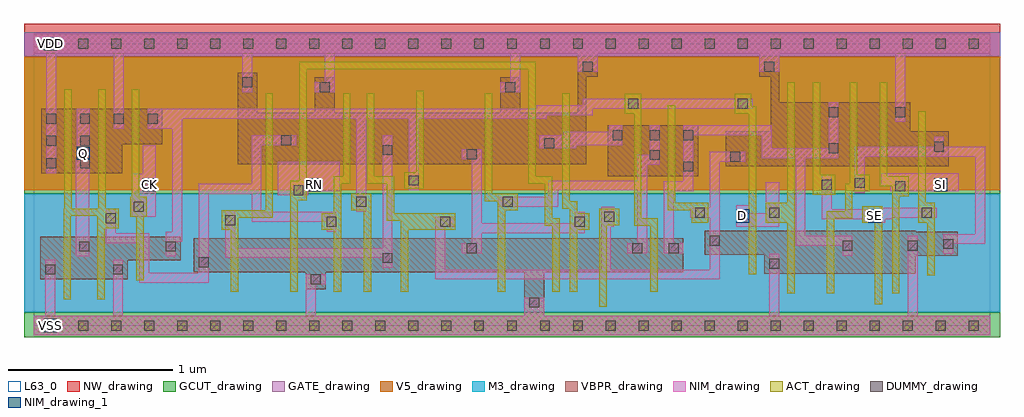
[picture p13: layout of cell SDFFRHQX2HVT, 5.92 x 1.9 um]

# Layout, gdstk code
import gdstk
lib = gdstk.Library(unit=1e-6, precision=5e-10)
def R(c, l, rs):  # rectangles x0, y0, x1, y1
    for r in rs: c.add(gdstk.rectangle(r[:2], r[2:], *l))
def A(c, l, x, y, w, h, nx, ny, dx, dy):  # array of equal rectangles
    R(c, l, [(x+i*dx, y+j*dy, x+i*dx+w, y+j*dy+h) for i in range(nx) for j in range(ny)])
def P(c, l, *ps):  # polygons
    for p in ps: c.add(gdstk.Polygon(p, *l))
VBPR_drawing = (1, 0)
NW_drawing = (2, 0)
ACT_drawing = (3, 0)
GATE_drawing = (4, 0)
GCUT_drawing = (5, 0)
DUMMY_drawing = (6, 0)
NIM_drawing = (7, 0)
NIM_drawing_1 = (7, 1)
M3_drawing = (18, 0)
V5_drawing = (23, 0)
L63_0 = (63, 0)

sdffrhqx2hvt = lib.new_cell('SDFFRHQX2HVT')
R(sdffrhqx2hvt, VBPR_drawing, [(0,-0.06,5.8,0.06), (3.48,0.905,4.03,1.215), (0,1.65,5.8,1.77)])
P(sdffrhqx2hvt, VBPR_drawing, [(5.55,1.18),(5.315,1.18),(5.315,1.355),(4.52,1.355),(4.52,1.65),(4.4,1.65),(4.4,1.51),(4.47,1.51),(4.47,1.18),(4.195,1.18),(4.195,0.965),(5.55,0.965)],
  [(0.045,1.315),(0.78,1.315),(0.78,1.1),(0.535,1.1),(0.535,0.925),(0.045,0.925)],
  [(0.04,0.54),(0.89,0.54),(0.89,0.395),(0.57,0.395),(0.57,0.28),(0.04,0.28)],
  [(3.94,0.53),(0.97,0.53),(0.97,0.325),(1.65,0.325),(1.65,0.22),(1.77,0.22),(1.77,0.325),(2.975,0.325),(2.975,0.06),(3.095,0.06),(3.095,0.325),(3.94,0.325)],
  [(4.07,0.575),(5.35,0.575),(5.35,0.57),(5.605,0.57),(5.605,0.425),(5.35,0.425),(5.35,0.315),(4.43,0.315),(4.43,0.43),(4.07,0.43)],
  [(3.42,1.65),(3.3,1.65),(3.3,1.29),(2.95,1.29),(2.95,1.505),(2.83,1.505),(2.83,1.29),(1.825,1.29),(1.825,1.505),(1.705,1.505),(1.705,1.29),(1.355,1.29),(1.355,1.535),(1.235,1.535),(1.235,0.98),(3.35,0.98),(3.35,1.51),(3.42,1.51)])
R(sdffrhqx2hvt, NW_drawing, [(-0.06,0.82,5.86,1.83)])
P(sdffrhqx2hvt, ACT_drawing, [(1.61,1.6),(3.045,1.6),(3.045,0.905),(3.145,0.905),(3.145,0.65),(3.19,0.65),(3.19,0.205),(3.145,0.205),(3.145,0.605),(3.1,0.605),(3.1,0.86),(3,0.86),(3,1.555),(1.655,1.555),(1.655,0.76),(1.6,0.76),(1.6,0.205),(1.555,0.205),(1.555,0.88),(1.61,0.88)],
  [(0.185,1.435),(0.23,1.435),(0.23,0.71),(0.39,0.71),(0.39,1.435),(0.435,1.435),(0.435,0.71),(0.515,0.71),(0.515,0.59),(0.43,0.59),(0.43,0.16),(0.385,0.16),(0.385,0.665),(0.225,0.665),(0.225,0.16),(0.18,0.16),(0.18,0.71),(0.185,0.71)],
  [(0.595,1.435),(0.64,1.435),(0.64,0.78),(0.685,0.78),(0.685,0.66),(0.665,0.66),(0.665,0.275),(0.62,0.275),(0.62,0.66),(0.585,0.66),(0.585,0.78),(0.595,0.78)],
  [(1.405,1.41),(1.45,1.41),(1.45,0.655),(1.24,0.655),(1.24,0.205),(1.195,0.205),(1.195,0.58),(1.14,0.58),(1.14,0.7),(1.405,0.7)],
  [(1.875,1.41),(1.92,1.41),(1.92,0.86),(1.865,0.86),(1.865,0.205),(1.82,0.205),(1.82,0.58),(1.745,0.58),(1.745,0.68),(1.82,0.68),(1.82,0.905),(1.875,0.905)],
  [(2.02,1.41),(2.065,1.41),(2.065,0.905),(2.185,0.905),(2.185,0.68),(2.555,0.68),(2.555,0.58),(2.27,0.58),(2.27,0.205),(2.225,0.205),(2.225,0.635),(2.14,0.635),(2.14,0.86),(2.02,0.86)],
  [(2.32,1.425),(2.365,1.425),(2.365,0.83),(2.245,0.83),(2.245,0.93),(2.32,0.93)],
  [(2.735,1.41),(2.78,1.41),(2.78,0.8),(2.935,0.8),(2.935,0.7),(2.86,0.7),(2.86,0.205),(2.815,0.205),(2.815,0.755),(2.735,0.755)],
  [(3.205,1.41),(3.25,1.41),(3.25,0.755),(3.295,0.755),(3.295,0.68),(3.37,0.68),(3.37,0.58),(3.295,0.58),(3.295,0.205),(3.25,0.205),(3.25,0.71),(3.205,0.71)],
  [(3.585,1.405),(3.685,1.405),(3.685,0.65),(3.785,0.65),(3.785,0.205),(3.74,0.205),(3.74,0.605),(3.64,0.605),(3.64,1.285),(3.585,1.285)],
  [(4.25,1.405),(4.35,1.405),(4.35,1.33),(4.38,1.33),(4.38,0.31),(4.335,0.31),(4.335,1.285),(4.25,1.285)],
  [(3.845,1.335),(3.89,1.335),(3.89,0.745),(4.09,0.745),(4.09,0.625),(3.99,0.625),(3.99,0.7),(3.845,0.7)],
  [(4.57,1.475),(4.615,1.475),(4.615,0.195),(4.57,0.195),(4.57,0.625),(4.44,0.625),(4.44,0.745),(4.57,0.745)],
  [(4.725,1.475),(4.77,1.475),(4.77,0.915),(4.86,0.915),(4.86,0.795),(4.725,0.795)],
  [(4.95,1.475),(4.995,1.475),(4.995,0.915),(5.07,0.915),(5.07,0.815),(4.965,0.815),(4.965,0.65),(4.855,0.65),(4.855,0.195),(4.81,0.195),(4.81,0.695),(4.92,0.695),(4.92,0.86),(4.95,0.86)],
  [(5.13,1.475),(5.175,1.475),(5.175,0.905),(5.305,0.905),(5.305,0.785),(5.25,0.785),(5.25,0.195),(5.205,0.195),(5.205,0.845),(5.13,0.845)],
  [(5.365,1.3),(5.41,1.3),(5.41,0.745),(5.465,0.745),(5.465,0.305),(5.42,0.305),(5.42,0.625),(5.365,0.625)],
  [(1.925,0.8),(2.045,0.8),(2.045,0.205),(2,0.205),(2,0.7),(1.925,0.7)],
  [(3.43,0.71),(3.55,0.71),(3.55,0.61),(3.475,0.61),(3.475,0.115),(3.43,0.115)],
  [(5.025,0.725),(5.145,0.725),(5.145,0.13),(5.1,0.13),(5.1,0.625),(5.025,0.625)])
R(sdffrhqx2hvt, GATE_drawing, [(-0.06,0.08,5.86,0.8), (-0.06,1.63,5.86,1.78)])
R(sdffrhqx2hvt, GCUT_drawing, [(-0.06,-0.07,5.86,0.08), (-0.06,0.8,5.86,1.63)])
A(sdffrhqx2hvt, DUMMY_drawing, 0.07, -0.03, 0.06, 0.06, 29, 2, 0.2, 1.71)
A(sdffrhqx2hvt, DUMMY_drawing, 0.075, 1.225, 0.06, 0.06, 4, 1, 0.205, 0)
R(sdffrhqx2hvt, DUMMY_drawing, [(3.005,0.11,3.065,0.17), (1.68,0.25,1.74,0.31), (0.07,0.31,0.13,0.37), (0.48,0.31,0.54,0.37), (4.46,0.345,4.52,0.405), (1,0.355,1.06,0.415), (2.115,0.38,2.175,0.44), (2.625,0.44,2.685,0.5), (3.63,0.44,3.69,0.5), (3.85,0.44,3.91,0.5), (0.275,0.45,0.335,0.51), (0.8,0.45,0.86,0.51), (4.905,0.455,4.965,0.515), (5.3,0.455,5.36,0.515), (5.515,0.465,5.575,0.525), (4.1,0.485,4.16,0.545), (1.775,0.6,1.835,0.66), (2.465,0.6,2.525,0.66), (3.28,0.6,3.34,0.66), (1.16,0.61,1.22,0.67), (0.435,0.62,0.495,0.68), (3.46,0.63,3.52,0.69), (5.055,0.645,5.115,0.705), (4.01,0.655,4.07,0.715), (4.46,0.655,4.52,0.715), (5.385,0.655,5.445,0.715), (0.605,0.69,0.665,0.75), (1.955,0.72,2.015,0.78), (2.845,0.72,2.905,0.78), (1.575,0.79,1.635,0.85), (5.225,0.815,5.285,0.875), (4.78,0.825,4.84,0.885), (4.98,0.835,5.04,0.895), (2.275,0.85,2.335,0.91), (3.94,0.935,4,0.995), (0.075,0.955,0.135,1.015), (0.28,0.955,0.34,1.015), (4.225,0.995,4.285,1.055), (3.735,1.005,3.795,1.065), (2.625,1.01,2.685,1.07), (2.115,1.035,2.175,1.095), (4.82,1.045,4.88,1.105), (5.46,1.055,5.52,1.115), (3.095,1.075,3.155,1.135), (0.075,1.09,0.135,1.15), (0.28,1.09,0.34,1.15), (1.5,1.095,1.56,1.155), (3.51,1.125,3.57,1.185), (3.735,1.125,3.795,1.185), (3.94,1.125,4,1.185), (4.82,1.265,4.88,1.325), (5.225,1.265,5.285,1.325), (3.605,1.315,3.665,1.375), (4.27,1.315,4.33,1.375), (1.735,1.415,1.795,1.475), (2.86,1.415,2.92,1.475), (1.265,1.445,1.325,1.505), (3.33,1.54,3.39,1.6), (4.43,1.54,4.49,1.6)])
R(sdffrhqx2hvt, NIM_drawing, [(0.07,0.06,0.13,0.4), (0.48,0.06,0.54,0.4), (2.975,0.06,3.095,0.17), (4.46,0.06,4.52,0.435), (5.3,0.06,5.36,0.545), (0.075,0.925,0.135,1.65), (0.485,1.195,0.545,1.65), (5.225,1.235,5.285,1.65), (1.265,1.415,1.325,1.65), (3.3,1.54,3.42,1.65), (4.4,1.54,4.52,1.65)])
P(sdffrhqx2hvt, NIM_drawing, [(1.825,1.65),(1.765,1.65),(1.765,1.475),(1.705,1.475),(1.705,1.415),(1.825,1.415)],
  [(2.95,1.65),(2.89,1.65),(2.89,1.475),(2.83,1.475),(2.83,1.415),(2.95,1.415)],
  [(1.77,0.31),(1.65,0.31),(1.65,0.06),(1.71,0.06),(1.71,0.25),(1.77,0.25)],
  [(0.26,1.315),(0.34,1.315),(0.34,0.925),(0.335,0.925),(0.335,0.42),(0.255,0.42),(0.255,1.005),(0.26,1.005)],
  [(3.33,1.375),(4.36,1.375),(4.36,1.315),(3.39,1.315),(3.39,1.275),(3.11,1.275),(3.11,1.255),(2.335,1.255),(2.335,0.82),(2.275,0.82),(2.275,1.255),(2.015,1.255),(2.015,0.69),(1.955,0.69),(1.955,1.255),(0.9,1.255),(0.9,0.51),(0.86,0.51),(0.86,0.42),(0.8,0.42),(0.8,0.57),(0.84,0.57),(0.84,1.195),(0.69,1.195),(0.69,1.315),(3.05,1.315),(3.05,1.335),(3.33,1.335)],
  [(0.66,1.095),(0.74,1.095),(0.74,0.66),(0.595,0.66),(0.595,0.92),(0.66,0.92)],
  [(1.32,1.155),(1.59,1.155),(1.59,1.095),(1.38,1.095),(1.38,0.69),(1.835,0.69),(1.835,0.57),(1.775,0.57),(1.775,0.63),(1.32,0.63),(1.32,0.8),(1.06,0.8),(1.06,0.26),(0.64,0.26),(0.64,0.5),(0.435,0.5),(0.435,0.71),(0.495,0.71),(0.495,0.56),(0.7,0.56),(0.7,0.32),(1,0.32),(1,0.86),(1.32,0.86)],
  [(1.16,0.7),(1.22,0.7),(1.22,0.47),(2.115,0.47),(2.115,1.155),(2.175,1.155),(2.175,0.35),(2.115,0.35),(2.115,0.41),(1.16,0.41)],
  [(1.48,0.995),(1.855,0.995),(1.855,0.815),(1.665,0.815),(1.665,0.79),(1.48,0.79)],
  [(3.94,1.215),(4.475,1.215),(4.475,1.075),(4.82,1.075),(4.82,1.355),(4.88,1.355),(4.88,1.015),(4.68,1.015),(4.68,0.545),(4.965,0.545),(4.965,0.425),(4.905,0.425),(4.905,0.485),(4.62,0.485),(4.62,1.015),(4.415,1.015),(4.415,1.155),(4,1.155),(4,0.815),(3.88,0.815),(3.88,0.5),(3.94,0.5),(3.94,0.44),(3.82,0.44),(3.82,0.875),(3.94,0.875)],
  [(3.49,1.215),(3.57,1.215),(3.57,1.095),(3.29,1.095),(3.29,1.075),(3.065,1.075),(3.065,1.155),(3.21,1.155),(3.21,1.175),(3.49,1.175)],
  [(3.735,1.215),(3.795,1.215),(3.795,0.975),(3.72,0.975),(3.72,0.44),(3.6,0.44),(3.6,0.5),(3.66,0.5),(3.66,0.82),(3.18,0.82),(3.18,0.72),(2.815,0.72),(2.815,0.78),(3.12,0.78),(3.12,0.88),(3.66,0.88),(3.66,1.035),(3.735,1.035)],
  [(2.595,1.07),(2.715,1.07),(2.715,0.62),(3.28,0.62),(3.28,0.69),(3.34,0.69),(3.34,0.56),(2.715,0.56),(2.715,0.44),(2.595,0.44),(2.595,0.5),(2.655,0.5),(2.655,1.01),(2.595,1.01)],
  [(4.1,1.055),(4.315,1.055),(4.315,0.995),(4.16,0.995),(4.16,0.28),(2.435,0.28),(2.435,0.66),(2.555,0.66),(2.555,0.6),(2.495,0.6),(2.495,0.34),(3.44,0.34),(3.44,0.72),(3.52,0.72),(3.52,0.6),(3.5,0.6),(3.5,0.34),(4.1,0.34),(4.1,0.655),(3.98,0.655),(3.98,0.715),(4.1,0.715)],
  [(5.46,1.145),(5.52,1.145),(5.52,1.085),(5.77,1.085),(5.77,0.495),(5.575,0.495),(5.575,0.435),(5.515,0.435),(5.515,0.555),(5.71,0.555),(5.71,1.025),(5.04,1.025),(5.04,0.805),(4.98,0.805),(4.98,1.085),(5.46,1.085)],
  [(4.26,0.73),(4.34,0.73),(4.34,0.68),(4.44,0.68),(4.44,0.87),(4.52,0.87),(4.52,0.6),(4.26,0.6)],
  [(4.78,0.915),(4.84,0.915),(4.84,0.705),(5.14,0.705),(5.14,0.715),(5.475,0.715),(5.475,0.655),(5.2,0.655),(5.2,0.645),(5.165,0.645),(5.165,0.625),(5.035,0.625),(5.035,0.645),(4.78,0.645)],
  [(5.14,0.925),(5.61,0.925),(5.61,0.815),(5.195,0.815),(5.195,0.845),(5.14,0.845)])
R(sdffrhqx2hvt, NIM_drawing_1, [(0.06,-0.04,0.14,0.04), (4.26,0.625,4.34,0.705), (5.06,0.625,5.14,0.705), (0.66,0.815,0.74,0.895), (1.66,0.815,1.74,0.895), (5.46,0.815,5.54,0.895), (0.26,1.005,0.34,1.085), (0.06,1.67,0.14,1.75)])
R(sdffrhqx2hvt, M3_drawing, [(-0.06,0.08,5.86,0.8)])
R(sdffrhqx2hvt, V5_drawing, [(-0.06,0.82,5.86,1.63)])
R(sdffrhqx2hvt, L63_0, [(0,0,5.8,1.71)])
sdffrhqx2hvt.add(gdstk.FlexPath([(0,0),(5.8,0)], 0.12, ends="flush", simple_path=True, layer=7, datatype=0))  # NIM_drawing
sdffrhqx2hvt.add(gdstk.FlexPath([(0,1.71),(5.8,1.71)], 0.12, ends="flush", simple_path=True, layer=7, datatype=0))  # NIM_drawing
sdffrhqx2hvt.add(gdstk.Label('Q', (0.3,1.045), layer=7, texttype=1))
sdffrhqx2hvt.add(gdstk.Label('SE', (5.1,0.665), layer=7, texttype=1))
sdffrhqx2hvt.add(gdstk.Label('SI', (5.5,0.855), layer=7, texttype=1))
sdffrhqx2hvt.add(gdstk.Label('D', (4.3,0.665), layer=7, texttype=1))
sdffrhqx2hvt.add(gdstk.Label('RN', (1.7,0.855), layer=7, texttype=1))
sdffrhqx2hvt.add(gdstk.Label('CK', (0.7,0.855), layer=7, texttype=1))
sdffrhqx2hvt.add(gdstk.Label('VDD', (0.1,1.71), layer=7, texttype=1))
sdffrhqx2hvt.add(gdstk.Label('VSS', (0.1,0), layer=7, texttype=1))
sdffrhqx2hvt.add(gdstk.Label('VSS', (0.1,0), layer=7, texttype=1))
sdffrhqx2hvt.add(gdstk.Label('VDD', (0.1,1.71), layer=7, texttype=1))
sdffrhqx2hvt.add(gdstk.Label('CK', (0.7,0.855), layer=7, texttype=1))
sdffrhqx2hvt.add(gdstk.Label('RN', (1.7,0.855), layer=7, texttype=1))
sdffrhqx2hvt.add(gdstk.Label('D', (4.3,0.665), layer=7, texttype=1))
sdffrhqx2hvt.add(gdstk.Label('SI', (5.5,0.855), layer=7, texttype=1))
sdffrhqx2hvt.add(gdstk.Label('SE', (5.1,0.665), layer=7, texttype=1))
sdffrhqx2hvt.add(gdstk.Label('Q', (0.3,1.045), layer=7, texttype=1))
sdffrhqx2hvt.add(gdstk.Label('SDFFRHQX2', (0,0), layer=63, texttype=0))

lib.write_gds('SDFFRHQX2HVT.gds')
